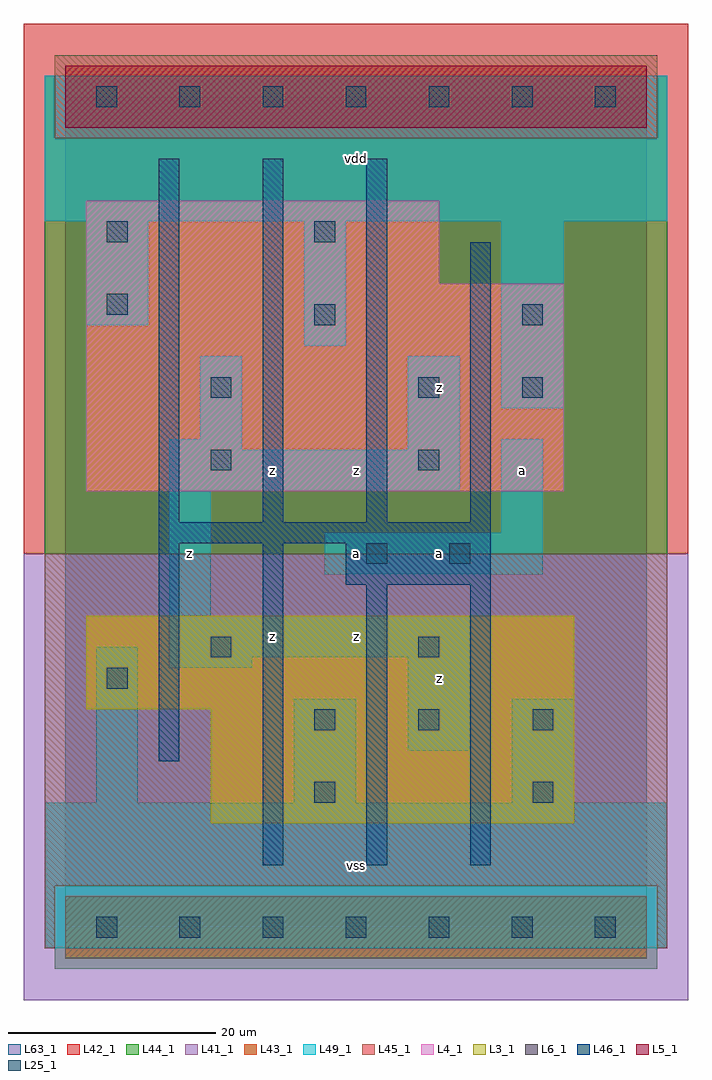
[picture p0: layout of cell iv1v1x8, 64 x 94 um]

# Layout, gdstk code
import gdstk
lib = gdstk.Library(unit=1e-6, precision=1e-09)
def R(c, l, rs):  # rectangles x0, y0, x1, y1
    for r in rs: c.add(gdstk.rectangle(r[:2], r[2:], *l))
def A(c, l, x, y, w, h, nx, ny, dx, dy):  # array of equal rectangles
    R(c, l, [(x+i*dx, y+j*dy, x+i*dx+w, y+j*dy+h) for i in range(nx) for j in range(ny)])
L3_1 = (3, 1)
L4_1 = (4, 1)
L5_1 = (5, 1)
L6_1 = (6, 1)
L25_1 = (25, 1)
L41_1 = (41, 1)
L42_1 = (42, 1)
L43_1 = (43, 1)
L44_1 = (44, 1)
L45_1 = (45, 1)
L46_1 = (46, 1)
L49_1 = (49, 1)
L63_1 = (63, 1)

iv1v1x8 = lib.new_cell('iv1v1x8')
R(iv1v1x8, L3_1, [(14,10,49,21), (2,21,49,30)])
R(iv1v1x8, L4_1, [(2,42,48,62), (2,62,36,70)])
R(iv1v1x8, L5_1, [(0,77,56,83)])
R(iv1v1x8, L6_1, [(0,-3,56,3), (0,-3,56,3)])
A(iv1v1x8, L25_1, 3, -1, 2, 2, 7, 2, 8, 80)
R(iv1v1x8, L25_1, [(24,12,26,14), (45,12,47,14), (24,19,26,21), (34,19,36,21), (45,19,47,21), (4,23,6,25), (14,26,16,28), (34,26,36,28), (29,35,31,37), (37,35,39,37), (14,44,16,46), (34,44,36,46), (14,51,16,53), (34,51,36,53), (44,51,46,53), (24,58,26,60), (44,58,46,60), (4,59,6,61), (4,66,6,68), (24,66,26,68)])
R(iv1v1x8, L41_1, [(-4,-7,60,36)])
R(iv1v1x8, L42_1, [(-4,36,60,87)])
R(iv1v1x8, L43_1, [(0,-3,56,3), (14,10,49,21), (2,21,49,30), (2,42,48,62), (2,62,36,70), (0,77,56,83)])
R(iv1v1x8, L44_1, [(-1,-4,57,4), (-2,36,58,76), (-2,76,-1,82), (57,76,58,82)])
R(iv1v1x8, L45_1, [(-2,-2,-1,4), (57,-2,58,4), (-2,4,58,36), (-1,76,57,84)])
A(iv1v1x8, L46_1, 9, 39, 2, 35, 3, 1, 10, 0)
R(iv1v1x8, L46_1, [(19,6,21,37), (29,6,31,33), (39,6,41,33), (9,16,11,37), (27,33,41,37), (9,37,41,39), (39,39,41,66)])
R(iv1v1x8, L49_1, [(-2,-2,58,12), (3,12,7,27), (22,12,28,22), (43,12,49,22), (33,17,39,26), (10,25,18,26), (10,26,39,30), (10,30,14,42), (25,34,46,38), (42,38,46,47), (10,42,38,46), (10,46,17,47), (33,46,38,55), (13,47,17,55), (42,50,48,68), (23,56,27,68), (2,58,8,68), (-2,68,58,82)])
R(iv1v1x8, L63_1, [(0,0,56,80)])
iv1v1x8.add(gdstk.Label('z', (12,36), layer=49, texttype=1))
iv1v1x8.add(gdstk.Label('z', (20,28), layer=49, texttype=1))
iv1v1x8.add(gdstk.Label('z', (20,44), layer=49, texttype=1))
iv1v1x8.add(gdstk.Label('vss', (28,6), layer=49, texttype=1))
iv1v1x8.add(gdstk.Label('z', (28,28), layer=49, texttype=1))
iv1v1x8.add(gdstk.Label('a', (28,36), layer=49, texttype=1))
iv1v1x8.add(gdstk.Label('a', (36,36), layer=49, texttype=1))
iv1v1x8.add(gdstk.Label('z', (36,24), layer=49, texttype=1))
iv1v1x8.add(gdstk.Label('z', (28,44), layer=49, texttype=1))
iv1v1x8.add(gdstk.Label('z', (36,52), layer=49, texttype=1))
iv1v1x8.add(gdstk.Label('vdd', (28,74), layer=49, texttype=1))
iv1v1x8.add(gdstk.Label('a', (44,44), layer=49, texttype=1))

lib.write_gds('iv1v1x8.gds')
